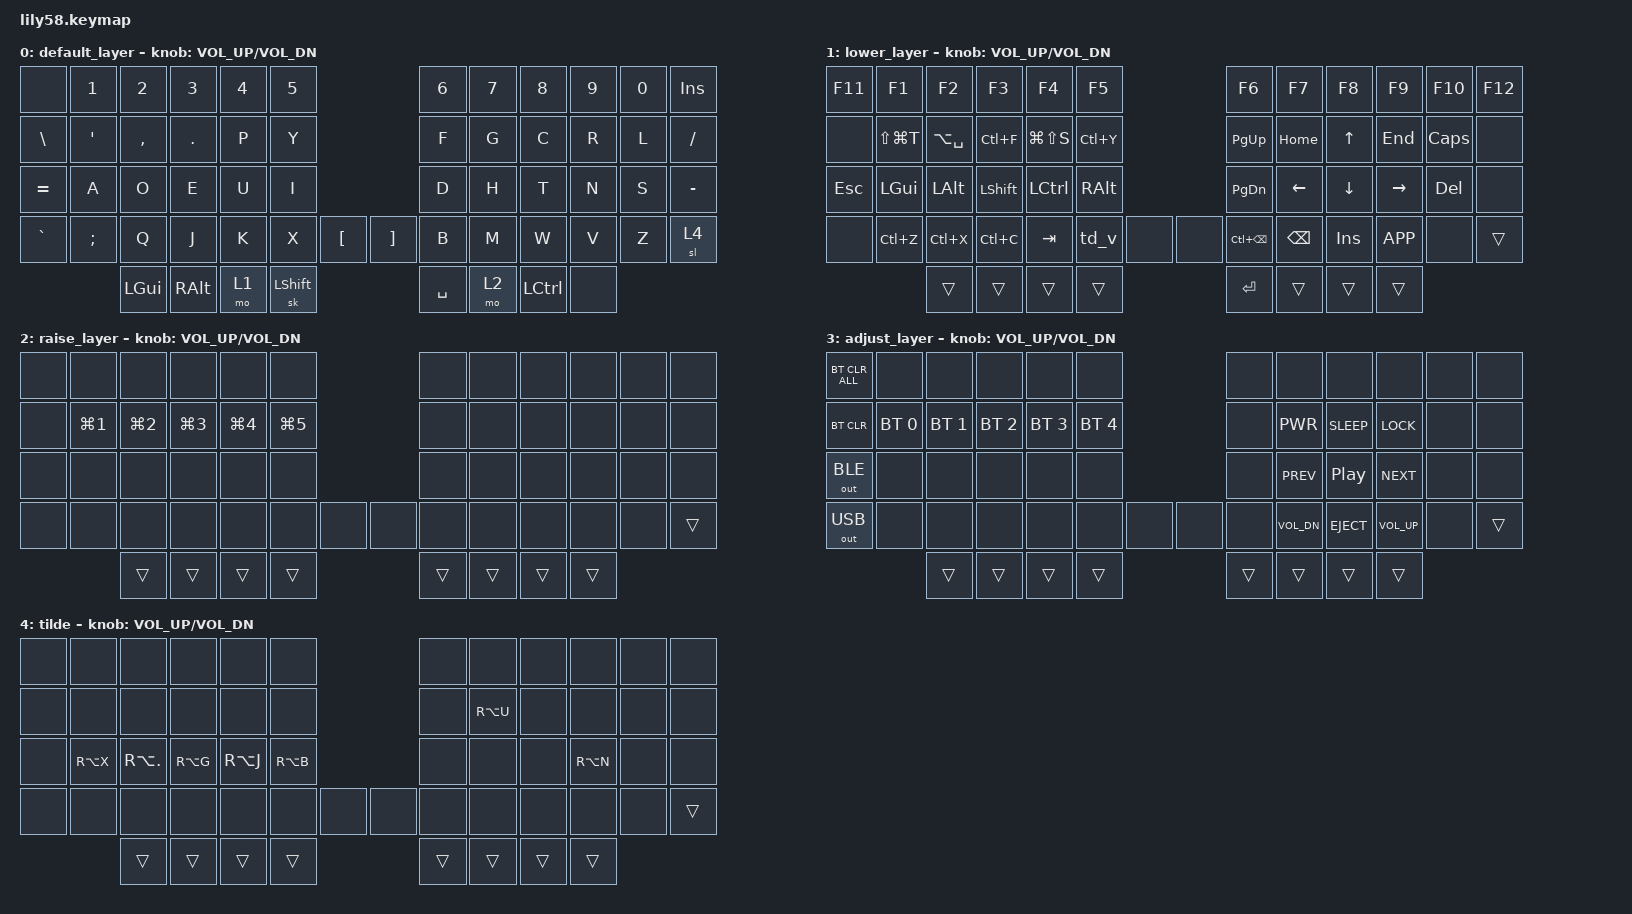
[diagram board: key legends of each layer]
/*
 * Copyright (c) 2020 The ZMK Contributors
 *
 * SPDX-License-Identifier: MIT
 */

#include <behaviors.dtsi>
#include <dt-bindings/zmk/bt.h>
#include <dt-bindings/zmk/keys.h>
#include <dt-bindings/zmk/ext_power.h>
#include <dt-bindings/zmk/outputs.h>

/ {

    behaviors {
        td_v: tap_dance_mod_tap {
            compatible = "zmk,behavior-tap-dance";
            #binding-cells = <0>;
            tapping-term-ms = <200>;
            bindings = <&kp LC(V)>, <&kp LG(V)>;
        };
    };

    conditional_layers {
        compatible = "zmk,conditional-layers";
        tri_layer {
            if-layers = <1 2>;
            then-layer = <3>;
        };
    };


    keymap {
        compatible = "zmk,keymap";

        default_layer {
// ------------------------------------------------------------------------------------------------------------
// |  ESC  |  1  |  2  |  3   |  4   |  5   |                   |  6   |  7    |  8    |  9   |   0   |   `   |
// |  TAB  |  Q  |  W  |  E   |  R   |  T   |                   |  Y   |  U    |  I    |  O   |   P   |   -   |
// |  CTRL |  A  |  S  |  D   |  F   |  G   |                   |  H   |  J    |  K    |  L   |   ;   |   '   |
// | SHIFT |  Z  |  X  |  C   |  V   |  B   |   "["  |  |  "]"  |  N   |  M    |  ,    |  .   |   /   | SHIFT |
//                     | ALT  | GUI  | LOWER|  SPACE |  | ENTER | RAISE| BSPC  | GUI   |
            bindings = <
&none    &kp N1    &kp N2     &kp N3    &kp N4  &kp N5                      &kp N6     &kp N7  &kp N8    &kp N9  &kp N0  &kp INS
&kp BSLH  &kp SQT   &kp COMMA  &kp DOT   &kp P   &kp Y                       &kp F      &kp G   &kp C     &kp R   &kp L   &kp FSLH
&kp EQUAL &kp A     &kp O      &kp E     &kp U   &kp I                       &kp D      &kp H   &kp T     &kp N   &kp S   &kp MINUS
&kp GRAVE &kp SEMI  &kp Q      &kp J     &kp K   &kp X  &kp LBKT   &kp RBKT  &kp B      &kp M   &kp W     &kp V   &kp Z   &sl 4
                    &kp LGUI   &kp RALT &mo 1   &sk LSHIFT                   &kp SPACE  &mo 2   &kp LCTRL  &none 
            >;

            sensor-bindings = <&inc_dec_kp C_VOL_UP C_VOL_DN>;
        };

        lower_layer {
// ------------------------------------------------------------------------------------------------------------
// | BTCLR | BT1 | BT2 |  BT3 |  BT4 |  BT5 |                   |      |       |       |      |       |       |
// |  F1   |  F2 |  F3 |  F4  |  F5  |  F6  |                   |  F7  |  F8   |  F9   |  F10 |  F11  |  F12  |
// |   `   |  !  |  @  |  #   |  $   |  %   |                   |  ^   |  &    |  *    |  (   |   )   |   ~   |
// |       |     |     |      |      |      |        |  |       |      |  _    |  +    |  {   |   }   |  "|"  |
//                     |      |      |      |        |  |       |      |       |       |
            bindings = <
&kp F11    &kp F1         &kp F2              &kp F3     &kp F4         &kp F5                   &kp F6        &kp F7    &kp F8    &kp F9     &kp F10   &kp F12
&none      &kp LS(LG(T))  &kp LA(SPACE)   &kp LC(F)  &kp LG(LS(S))  &kp LC(Y)                &kp PG_UP     &kp HOME  &kp UP    &kp END    &kp CAPS  &none
&kp ESC    &kp LGUI       &kp LALT            &kp LSHFT  &kp LCTRL      &kp RALT                 &kp PG_DN     &kp LEFT  &kp DOWN  &kp RIGHT  &kp DEL   &none
&none      &kp LC(Z)      &kp LC(X)           &kp LC(C)  &kp TAB        &td_v      &none  &none  &kp LC(BSPC)  &kp BSPC  &kp INS   &kp K_APP  &none     &trans
                          &trans               &trans      &trans         &trans                    &kp RET       &trans    &trans     &trans
            >;

            sensor-bindings = <&inc_dec_kp C_VOL_UP C_VOL_DN>;
        };

        raise_layer {
// ------------------------------------------------------------------------------------------------------------
// |       |     |     |      |      |      |                   |      |       |       |      |       |       |
// |   `   |  1  |  2  |  3   |  4   |  5   |                   |  6   |   7   |   8   |  9   |   0   |       |
// |   F1  |  F2 |  F3 |  F4  |  F5  |  F6  |                   |      |   <-  |   v   |  ^   |  ->   |       |
// |   F7  |  F8 |  F9 |  F10 |  F11 |  F12 |        |  |       |  +   |   -   |   =   |  [   |   ]   |   \   |
//                     |      |      |      |        |  |       |      |       |       |
            bindings = <
&none  &none       &none        &none       &none       &none                          &none   &none   &none  &none  &none  &none
&none  &kp LG(N1)  &kp LG(N2)   &kp LG(N3)  &kp LG(N4)  &kp LG(N5)                     &none   &none   &none  &none  &none  &none
&none  &none       &none        &none       &none       &none                          &none   &none   &none  &none  &none  &none
&none  &none       &none        &none       &none       &none       &none    &none     &none   &none   &none  &none  &none  &trans
                   &trans       &trans      &trans      &trans                         &trans  &trans  &trans &trans
            >;

            sensor-bindings = <&inc_dec_kp C_VOL_UP C_VOL_DN>;
        };
        
        adjust_layer {
// ------------------------------------------------------------------------------------------------------------
// |       |     |     |      |      |      |                   |      |       |       |      |       |       |
// |   `   |  1  |  2  |  3   |  4   |  5   |                   |  6   |   7   |   8   |  9   |   0   |       |
// |   F1  |  F2 |  F3 |  F4  |  F5  |  F6  |                   |      |   <-  |   v   |  ^   |  ->   |       |
// |   F7  |  F8 |  F9 |  F10 |  F11 |  F12 |        |  |       |  +   |   -   |   =   |  [   |   ]   |   \   |
//                     |      |      |      |        |  |       |      |       |       |
            bindings = <
&bt BT_CLR_ALL &none  &none  &none  &none  &none                                                          &none  &none        &none     &none        &none  &none
&bt BT_CLR &bt BT_SEL 0 &bt BT_SEL 1 &bt BT_SEL 2 &bt BT_SEL 3 &bt BT_SEL 4                      &none  &kp K_PWR    &kp K_SLEEP     &kp K_LOCK        &none  &none
&out OUT_BLE &none  &none  &none  &none  &none                                                          &none  &kp C_PREV   &kp C_PP  &kp C_NEXT   &none  &none
&out OUT_USB &none  &none  &none  &none  &none      &none                                      &none    &none  &kp C_VOL_DN &kp C_EJECT     &kp C_VOL_UP &none  &trans
             &trans  &trans  &trans &trans                                                          &trans  &trans   &trans  &trans
            >;

            sensor-bindings = <&inc_dec_kp C_VOL_UP C_VOL_DN>;
        };

        tilde {
// ------------------------------------------------------------------------------------------------------------
// |       |     |     |      |      |      |                   |      |       |       |      |       |       |
// |   `   |  1  |  2  |  3   |  4   |  5   |                   |  6   |   7   |   8   |  9   |   0   |       |
// |   F1  |  F2 |  F3 |  F4  |  F5  |  F6  |                   |      |   <-  |   v   |  ^   |  ->   |       |
// |   F7  |  F8 |  F9 |  F10 |  F11 |  F12 |        |  |       |  +   |   -   |   =   |  [   |   ]   |   \   |
//                     |      |      |      |        |  |       |      |       |       |
            bindings = <
&none  &none       &none        &none       &none       &none                          &none  &none      &none  &none      &none  &none
&none  &none       &none        &none       &none       &none                          &none  &kp RA(U)  &none  &none      &none  &none
&none  &kp RA(X)   &kp RA(DOT)  &kp RA(G)   &kp RA(J)   &kp RA(B)                      &none  &none      &none  &kp RA(N)  &none  &none
&none  &none       &none        &none       &none       &none       &none    &none     &none  &none      &none  &none      &none  &trans
                   &trans        &trans       &trans     &trans                          &trans  &trans      &trans  &trans
            >;

            sensor-bindings = <&inc_dec_kp C_VOL_UP C_VOL_DN>;
        };
    };
};
